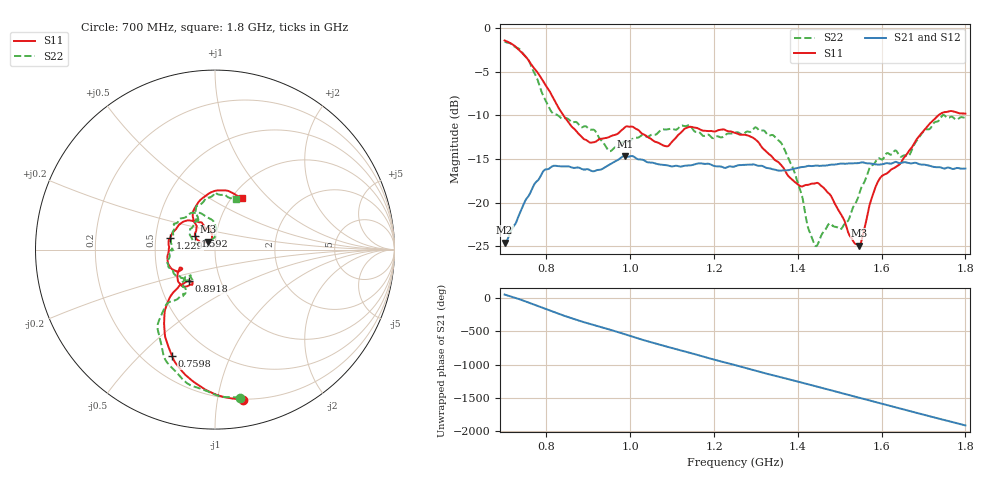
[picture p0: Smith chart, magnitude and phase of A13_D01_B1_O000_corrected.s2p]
! Created with skrf 1.9.0 (http://scikit-rf.org).
# Hz S RI R 50.0
!freq ReS11 ImS11 ReS21 ImS21 ReS12 ImS12 ReS22 ImS22
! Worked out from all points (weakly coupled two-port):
!   1601 points, 700 MHz to 1.8 GHz, reference 50 ohm
!   highest |S21| = -14.64 dB at 986.7 MHz (marker M1); lowest = -24.6 dB at 700 MHz (marker M2)
!   lowest |S11| = -24.9 dB at 1.547 GHz (marker M3), VSWR 1.12, Z = 46.3 + j4.06 ohm
!   |S11| at or under -10 dB: 840.4 MHz to 1.735 GHz (894.6 MHz wide, 69.5 % of centre)
!   |S22| runs from -25.0 to -1.6 dB; largest |S21 - S12| = 0.0038
!   S11 on the Smith chart (normalised r, x): 700 MHz: 0.20, -1.19; 759.8 MHz: 0.31, -0.63; 891.8 MHz: 0.70, -0.26; 1.229 GHz: 0.59, +0.08; 1.592 GHz: 0.79, +0.12; 1.8 GHz: 1.12, +0.71
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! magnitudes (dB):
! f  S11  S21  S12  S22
! 700 MHz  -1.4  -24.6  -24.3  -1.6
! 759.8 MHz  -3.9  -19.0  -18.9  -3.9
! 812.8 MHz  -7.7  -15.9  -15.8  -9.6
! 883.6 MHz  -12.4  -16.1  -16.0  -11.4
! 891.8 MHz  -12.8  -16.2  -16.2  -11.2
! 950.2 MHz  -12.4  -15.6  -15.7  -14.1
! 986.7 MHz  -11.4  -14.6  -14.7  -13.0
! 1.067 GHz  -13.1  -15.6  -15.5  -11.9
! 1.14 GHz  -11.3  -15.7  -15.7  -11.1
! 1.229 GHz  -11.7  -16.0  -15.9  -12.1
! 1.25 GHz  -12.0  -15.8  -15.8  -12.0
! 1.3 GHz  -12.8  -15.7  -15.7  -11.4
! 1.36 GHz  -15.7  -16.3  -16.3  -13.1
! 1.394 GHz  -17.7  -16.1  -16.1  -16.8
! 1.434 GHz  -17.8  -15.8  -15.8  -24.0
! 1.505 GHz  -21.5  -15.5  -15.5  -22.9
! 1.547 GHz  -24.9  -15.4  -15.4  -18.9
! 1.592 GHz  -17.5  -15.6  -15.6  -14.9
! 1.617 GHz  -16.5  -15.5  -15.5  -14.4
! 1.664 GHz  -14.2  -15.4  -15.4  -14.7
! 1.737 GHz  -9.9  -15.9  -16.0  -10.5
! 1.8 GHz  -9.8  -16.1  -16.1  -10.3
